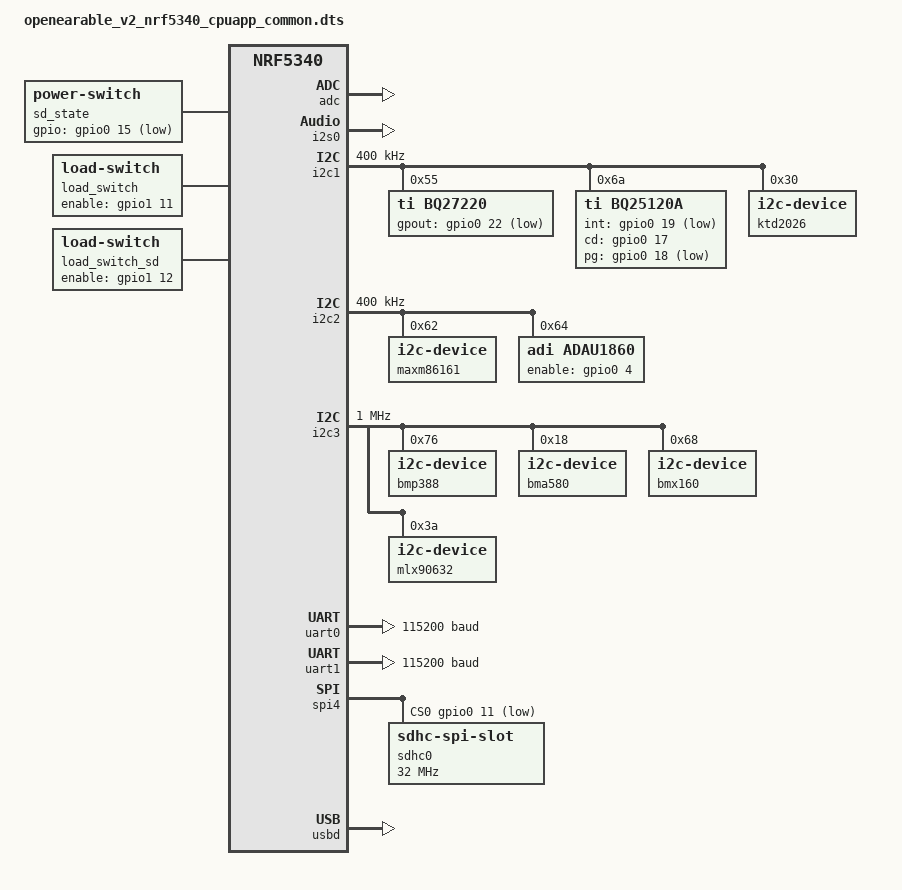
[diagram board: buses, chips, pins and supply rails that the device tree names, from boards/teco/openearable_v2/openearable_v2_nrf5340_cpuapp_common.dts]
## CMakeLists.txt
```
cmake_minimum_required(VERSION 3.20.0)

# Flag which defines whether application is compiled as gateway/dongle or headset
add_compile_definitions(HEADSET=1)
add_compile_definitions(GATEWAY=2)

find_package(Zephyr REQUIRED HINTS $ENV{ZEPHYR_BASE})

project(openearable_v2_1)

string(TIMESTAMP NRF5340_AUDIO_CORE_APP_COMP_DATE "%a %b %d %H:%M:%S %Y")

# Generate fw_info_app.c
configure_file("${CMAKE_CURRENT_SOURCE_DIR}/src/utils/fw_info_app.c.in"
               "${CMAKE_BINARY_DIR}/fw_info_app.c"
               @ONLY)

# Target sources below are specific to the nRF5340 Audio DK HW
target_sources(app PRIVATE
    src/main.cpp
    ${CMAKE_BINARY_DIR}/fw_info_app.c
    )


# Include application events and configuration headers
zephyr_library_include_directories(
    include
    src/audio
    src/Battery
    src/buttons
    src/Wire
    src/bluetooth
    src/drivers
    src/modules
    src/utils
    src/utils/macros
    src/ParseInfo
    src/SD_Card/SDLogger
    src/SD_Card/Benchmark
    src/SD_Card/SD_Card_Manager
    src/time_sync
)

zephyr_library_include_directories(app PRIVATE
    ${ZEPHYR_NRF_MODULE_DIR}/boards/teco/openearable_v2_nrf5340)

# Application sources
add_subdirectory(src/audio)
add_subdirectory(src/Wire)
add_subdirectory(src/Battery)
add_subdirectory(src/bluetooth)
add_subdirectory(src/buttons)
add_subdirectory(src/drivers)
add_subdirectory(src/modules)
add_subdirectory(src/utils)
add_subdirectory(src/ParseInfo)
add_subdirectory(src/SensorManager)
add_subdirectory(src/SD_Card/SDLogger)
add_subdirectory(src/SD_Card/Benchmark)
add_subdirectory(src/SD_Card/SD_Card_Manager)
add_subdirectory(src/time_sync)

## Cirrus Logic
if (CONFIG_HW_CODEC_CIRRUS_LOGIC)
    if (ZEPHYR_CIRRUS_LOGIC_MODULE_DIR)
        add_subdirectory(${ZEPHYR_CIRRUS_LOGIC_MODULE_DIR} cirrus_logic_bin_dir)
    else()
        message(FATAL_ERROR "Cirrus Logic/sdk-mcu-drivers repository not found\n")
    endif()
endif()

include(version.cmake)
include_directories(${CMAKE_CURRENT_BINARY_DIR}/include)

# New USB device stack sample init (provides sample_usbd_init_device)
if(CONFIG_USB_DEVICE_STACK_NEXT)
    include(${ZEPHYR_BASE}/samples/subsys/usb/common/common.cmake)
endif()
```

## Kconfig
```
menuconfig NRF5340_AUDIO
	 bool "nRF5340 Audio [EXPERIMENTAL]"
	 select EXPERIMENTAL
	
if NRF5340_AUDIO

config CUSTOM_BROADCASTER
	bool "Allow custom broadcasters"
	default n
	help
	  Incomplete feature for now, but will introduce support for multiple BIGs and subgroups.

config AUDIO_DEV
	int "Select which device type to compile for. 1=HEADSET or 2=GATEWAY"
	range 1 2
	default 1
	help
	  Setting this variable to 1 selects that the project is compiled
	  as a HEADSET device.
	  Setting to 2 will compile as a GATEWAY.

choice NRF5340_AUDIO_TRANSPORT_MODE
	prompt "Choose BIS or CIS for ISO transport"
	default TRANSPORT_CIS if WALKIE_TALKIE_DEMO
	default TRANSPORT_CIS

config TRANSPORT_BIS
	bool "Use BIS (Broadcast Isochronous Stream)"

config TRANSPORT_CIS
	bool "Use CIS (Connected Isochronous Stream)"

endchoice

#----------------------------------------------------------------------------#
# if (TRANSPORT_BIS && AUDIO_DEV = 1)
# rsource "broadcast_sink/Kconfig.defaults"
# endif # TRANSPORT_BIS && AUDIO_DEV = 1

# if (TRANSPORT_BIS && AUDIO_DEV = 2)
# rsource "broadcast_source/Kconfig.defaults"
# endif # TRANSPORT_BIS && AUDIO_DEV = 2

# if (TRANSPORT_CIS && AUDIO_DEV = 1)
rsource "unicast_server/Kconfig.defaults"
# endif # TRANSPORT_CIS && AUDIO_DEV = 1

# if (TRANSPORT_CIS && AUDIO_DEV = 2)
# rsource "unicast_client/Kconfig.defaults"
# endif # TRANSPORT_CIS && AUDIO_DEV = 2

rsource "Kconfig.defaults"
rsource "src/audio/Kconfig"
rsource "src/bluetooth/Kconfig"
rsource "src/drivers/Kconfig"
rsource "src/modules/Kconfig"
rsource "src/utils/Kconfig"
rsource "src/SensorManager/Kconfig"
rsource "src/Battery/Kconfig"

#----------------------------------------------------------------------------#
menu "Logging"

module = MAIN
module-str = main
source "subsys/logging/Kconfig.template.log_config"

config PRINT_STACK_USAGE_MS
	depends on THREAD_ANALYZER && INIT_STACKS
	int "Print stack usage every x milliseconds"
	default 5000

endmenu # Log levels

#----------------------------------------------------------------------------#
endif # NRF5340_AUDIO

rsource "$(ZEPHYR_BASE)/samples/subsys/usb/common/Kconfig.sample_usbd"

source "Kconfig.zephyr"
```

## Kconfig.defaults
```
config REBOOT
	default y

config MAIN_THREAD_PRIORITY
	default 10

config MAIN_STACK_SIZE
	default 1800 if SD_CARD_PLAYBACK
	default 1600

config SYSTEM_WORKQUEUE_STACK_SIZE
	default 1200

# As long as thread names are used, config must be set to "y"
config THREAD_NAME
	default y

# Workaround to not use fatal_error.c in NCS. Note that the system may still
# reset on error depending on the build configuraion
config RESET_ON_FATAL_ERROR
	default n

# Default Config for Debug and Release build
config BT
	default y

config ZBUS
	default y

config ZBUS_RUNTIME_OBSERVERS
	default y

config ZBUS_MSG_SUBSCRIBER
	default y

config SENSOR
	default y

config REGULATOR
	default y

config CONTIN_ARRAY
	default y

config NRFX_I2S0
	default y

config PCM_MIX
	default y

config PSCM
	default y

config DATA_FIFO
	default y

# Enable NRFX_CLOCK for ACLK control
config NRFX_CLOCK
	default y

config I2C
	default y

choice LIBC_IMPLEMENTATION
	# NOTE: Since we are not using minimal libc, error codes from
	#       minimal libc are not used
	default NEWLIB_LIBC
endchoice

# Audio codec LC3 related defines
# FPU_SHARING enables preservation of the hardware floating point registers
# across context switches to allow multiple threads to perform concurrent
# floating point operations.
config FPU
	default y

config FPU_SHARING
	default y

# Enable SDHC interface
config DISK_DRIVERS
	default y

config DISK_DRIVER_SDMMC
	default y

# Enable SPI interface
config SPI
	default y

# Enable ADC for board version readback
config ADC
	default y

# Allocate buffer on RAM for transferring chunck of data
# from Flash to SPI
config SPI_NRFX_RAM_BUFFER_SIZE
	default 8

# Config the file system
config FILE_SYSTEM
	default y

config FAT_FILESYSTEM_ELM
	default y

config FS_FATFS_LFN
	default y
choice FS_FATFS_LFN_MODE
	# Using stack for LFN work queue
	default FS_FATFS_LFN_MODE_STACK
endchoice

# exFAT enabled to support longer file names and higher transfer speed
config FS_FATFS_EXFAT
	default y

config WATCHDOG
	default y

config TASK_WDT
	default y
```

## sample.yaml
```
sample:
  name: nRF5340 Audio application
  description: LE Audio and Auracast implementation example
common:
  integration_platforms:
    - openearable_v2/nrf5340/cpuapp
  platform_allow: openearable_v2/nrf5340/cpuapp
  sysbuild: true
  build_only: true
  tags: ci_build sysbuild
tests:
  applications.nrf5340_audio.default:
    extra_args: []
  applications.nrf5340_audio.headset_unicast:
    extra_args: FILE_SUFFIX=release CONFIG_AUDIO_DEV=1
  applications.nrf5340_audio.gateway_unicast:
    extra_args: FILE_SUFFIX=release CONFIG_AUDIO_DEV=2
  applications.nrf5340_audio.headset_broadcast:
    extra_args: FILE_SUFFIX=release CONFIG_AUDIO_DEV=1 CONFIG_TRANSPORT_BIS=y
  applications.nrf5340_audio.gateway_broadcast:
    extra_args: FILE_SUFFIX=release CONFIG_AUDIO_DEV=2 CONFIG_TRANSPORT_BIS=y
  applications.nrf5340_audio.headset_unicast_sd_card:
    extra_args: FILE_SUFFIX=release CONFIG_AUDIO_DEV=1 CONFIG_SD_CARD_PLAYBACK=y
  applications.nrf5340_audio.headset_dfu:
    extra_args: FILE_SUFFIX=release CONFIG_AUDIO_DEV=1
```

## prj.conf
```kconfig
# Audio
CONFIG_AUDIO_BT_MGMT_DFU=y
CONFIG_AUDIO_MIC_I2S=y
CONFIG_BLE_ACL_CONN_INTERVAL=8
CONFIG_BT_AUDIO_RETRANSMITS=2
#CONFIG_BT_AUDIO_MAX_TRANSPORT_LATENCY_MS=20
#CONFIG_BT_AUDIO_PRESENTATION_DELAY_US=40000
CONFIG_FDSP=y
CONFIG_NRF5340_AUDIO=y
CONFIG_NRF5340_AUDIO_CS47L63_DRIVER=y
CONFIG_NRF5340_AUDIO_POWER_MEASUREMENT=n
CONFIG_NRF5340_AUDIO_SD_CARD_MODULE=y
CONFIG_SAMPLE_RATE_CONVERTER=y
CONFIG_SAMPLE_RATE_CONVERTER_FILTER_SIMPLE=y
CONFIG_STREAM_BIDIRECTIONAL=y
# CONFIG_NRFX_PDM=y

# Bluetooth
CONFIG_BT_ATT_PREPARE_COUNT=8
CONFIG_BT_BUF_ACL_RX_SIZE=502
CONFIG_BT_BUF_ACL_TX_SIZE=502
CONFIG_BT_CTLR_DATA_LENGTH_MAX=251
CONFIG_BT_CTLR_ISO_RX_BUFFERS=16
CONFIG_BT_CTLR_ISO_TX_BUFFERS=16
CONFIG_BT_CTLR_PHY_2M=y
CONFIG_BT_CTLR_PHY_CODED=n
CONFIG_BT_CTLR_RX_BUFFERS=8
#CONFIG_BT_CTLR_TX_BUFFERS=8
CONFIG_BT_DEVICE_NAME="OpenEarable"
CONFIG_BT_HCI_CORE_LOG_LEVEL_WRN=y
CONFIG_BT_ISO_RX_BUF_COUNT=8
CONFIG_BT_ISO_TX_BUF_COUNT=4
#CONFIG_BT_ISO_RX_MTU=498
#CONFIG_BT_ISO_TX_MTU=498
CONFIG_BT_L2CAP_DYNAMIC_CHANNEL=y
CONFIG_BT_L2CAP_TX_MTU=498
CONFIG_BT_OBSERVER=y
CONFIG_BT_PERIPHERAL=y
CONFIG_BT_USER_DATA_LEN_UPDATE=y
CONFIG_BT_USER_PHY_UPDATE=y

# C/C++ runtime
CONFIG_CPP=y
CONFIG_FPU=y
CONFIG_GLIBCXX_LIBCPP=y
CONFIG_NEWLIB_LIBC=y
CONFIG_NEWLIB_LIBC_FLOAT_PRINTF=y
CONFIG_NEWLIB_LIBC_FLOAT_SCANF=y
CONFIG_SFLOAT=y
CONFIG_STD_CPP17=y

# Console
CONFIG_CONSOLE=y
CONFIG_RTT_CONSOLE=y
CONFIG_STDOUT_CONSOLE=y
CONFIG_UART_CONSOLE=y

# Debug
CONFIG_ASSERT=y
CONFIG_DEBUG=y
CONFIG_DEBUG_INFO=y
CONFIG_INIT_STACKS=y
#CONFIG_RESET_ON_FATAL_ERROR=y
CONFIG_STACK_SENTINEL=y
CONFIG_STACK_USAGE=y
CONFIG_THREAD_RUNTIME_STATS=y

# Filesystem / SD card
CONFIG_DISK_ACCESS=y
CONFIG_DISK_DRIVER_SDMMC=y
CONFIG_DISK_DRIVERS=y
CONFIG_FAT_FILESYSTEM_ELM=y
CONFIG_FILE_SYSTEM=y
CONFIG_FS_FATFS_EXFAT=y
CONFIG_FS_FATFS_HAS_RTC=y
CONFIG_FS_FATFS_MOUNT_MKFS=n
CONFIG_SDHC=y
# Suppress LOG_ERR from sd_check_card_type (SPI_SDHC has no card presence method)
CONFIG_SD_LOG_LEVEL_OFF=y

# Flash (external)
CONFIG_FLASH=y
CONFIG_FLASH_MAP=y
CONFIG_NORDIC_QSPI_NOR=n
CONFIG_SPI_NOR=y
CONFIG_SPI_NOR_FLASH_LAYOUT_PAGE_SIZE=4096
CONFIG_SPI_NOR_SFDP_DEVICETREE=y

# I2C
CONFIG_I2C=y
CONFIG_I2C_NRFX=y
CONFIG_I2C_SHELL=y

# Logging
CONFIG_LOG=y
CONFIG_LOG_BACKEND_RTT=n
CONFIG_LOG_BACKEND_UART=n
CONFIG_LOG_BUFFER_SIZE=8192
CONFIG_LOG_PROCESS_THREAD_SLEEP_MS=100
# CONFIG_LOG_DEFAULT_LEVEL=4
CONFIG_LOG_TAG_DEFAULT="--"
CONFIG_LOG_TAG_MAX_LEN=2
#CONFIG_LOG_THREAD_ID_PREFIX=y
CONFIG_SEGGER_RTT_BUFFER_SIZE_UP=4096
CONFIG_USBD_LOG_LEVEL_WRN=y

# MCUmgr / DFU
CONFIG_BASE64=y
CONFIG_CRC=y
CONFIG_IMG_MANAGER=y
CONFIG_MCUMGR=y
CONFIG_MCUMGR_GRP_IMG=y
CONFIG_MCUMGR_GRP_IMG_STATUS_HOOKS=y
CONFIG_MCUMGR_GRP_IMG_UPLOAD_CHECK_HOOK=y
CONFIG_MCUMGR_GRP_OS=y
CONFIG_MCUMGR_GRP_OS_RESET_HOOK=y
CONFIG_MCUMGR_MGMT_NOTIFICATION_HOOKS=y
CONFIG_MCUMGR_SMP_COMMAND_STATUS_HOOKS=y
CONFIG_MCUMGR_TRANSPORT_BT_PERM_RW=y
CONFIG_MCUMGR_TRANSPORT_UART=n
CONFIG_NET_BUF=y
CONFIG_STREAM_FLASH=y
CONFIG_ZCBOR=y

# Power management
CONFIG_PM=n  # Seems like a good idea, but not currently used in any way.
CONFIG_PM_DEVICE=y
CONFIG_PM_DEVICE_RUNTIME=y
CONFIG_POWEROFF=y

# PWM
CONFIG_NRFX_PWM1=y

# Serial / UART
CONFIG_SERIAL=y
CONFIG_UART_LINE_CTRL=y

# Shell
CONFIG_SHELL=y
CONFIG_SHELL_BACKEND_RTT=y
CONFIG_SHELL_BACKEND_SERIAL=n
CONFIG_SHELL_CMD_BUFF_SIZE=128
CONFIG_SHELL_CMDS=n
CONFIG_SHELL_HELP_ON_WRONG_ARGUMENT_COUNT=n
CONFIG_SHELL_HISTORY=y
CONFIG_SHELL_RTT_INIT_LOG_LEVEL_DEFAULT=y
CONFIG_SHELL_STACK_SIZE=4096
CONFIG_SHELL_STATS=n
CONFIG_SHELL_VT100_COLORS=y
CONFIG_SHELL_VT100_COMMANDS=y
CONFIG_SHELL_WILDCARD=n
# Disable default shell commands
CONFIG_CLOCK_CONTROL_NRF_SHELL=n
CONFIG_DEVICE_SHELL=n
CONFIG_FLASH_SHELL=n
CONFIG_HWINFO_SHELL=n
CONFIG_I2C_SHELL=y
CONFIG_KERNEL_SHELL=y
CONFIG_USE_SEGGER_RTT=y

# SPI
CONFIG_SPI=y
CONFIG_SPI_NRFX=y
CONFIG_SPI_NRFX_RAM_BUFFER_SIZE=4096

# Misc
CONFIG_SETUP_FUEL_GAUGE=y
CONFIG_SYSTEM_WORKQUEUE_STACK_SIZE=4096

# USB
#CONFIG_USB_CDC_ACM_LOG_LEVEL_DBG=y
CONFIG_USB_DEVICE_STACK_NEXT=y
CONFIG_USBD_CDC_ACM_CLASS=n
# USB Mass Storage
CONFIG_USBD_MSC_CLASS=y
CONFIG_USBD_MSC_LUNS_PER_INSTANCE=1
CONFIG_USBD_MSC_SCSI_BUFFER_SIZE=16384
CONFIG_SAMPLE_USBD_MANUFACTURER="OpenEarable"
CONFIG_SAMPLE_USBD_PID=0x0004
CONFIG_SAMPLE_USBD_PRODUCT="OpenEarable v2"
CONFIG_SAMPLE_USBD_SELF_POWERED=y

CONFIG_NCS_BOOT_BANNER=y
CONFIG_NCS_APPLICATION_BOOT_BANNER_STRING="OpenEarable v2"
```

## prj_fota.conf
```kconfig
#
# Copyright (c) 2022 Nordic Semiconductor ASA
#
# SPDX-License-Identifier: LicenseRef-Nordic-5-Clause
#

# CONFIG_STATIC_INIT_GNU=y

# nRF5340 Audio
CONFIG_NRF5340_AUDIO=y
CONFIG_SAMPLE_RATE_CONVERTER=y
CONFIG_SAMPLE_RATE_CONVERTER_FILTER_SIMPLE=y

# General
CONFIG_DEBUG=y
CONFIG_DEBUG_INFO=y
CONFIG_ASSERT=y
CONFIG_STACK_USAGE=y
CONFIG_THREAD_RUNTIME_STATS=y
CONFIG_STACK_SENTINEL=y
CONFIG_INIT_STACKS=y

# Uart driver
CONFIG_SERIAL=y

# Logging
CONFIG_LOG=y
CONFIG_NEWLIB_LIBC_FLOAT_PRINTF=y
CONFIG_LOG_TAG_MAX_LEN=2
CONFIG_LOG_TAG_DEFAULT="--"
CONFIG_LOG_BACKEND_UART=y
CONFIG_LOG_BUFFER_SIZE=4096

# Use this for debugging thread usage
#CONFIG_LOG_THREAD_ID_PREFIX=y

# Console related defines
CONFIG_CONSOLE=y
CONFIG_RTT_CONSOLE=y
CONFIG_UART_CONSOLE=y
CONFIG_STDOUT_CONSOLE=y

# Shell related defines
CONFIG_SHELL=y
CONFIG_KERNEL_SHELL=y
CONFIG_USE_SEGGER_RTT=y
## Disable logs on RTT
CONFIG_SHELL_RTT_INIT_LOG_LEVEL_NONE=y
CONFIG_SHELL_BACKEND_RTT=y
CONFIG_SHELL_BACKEND_SERIAL=n
CONFIG_SHELL_VT100_COMMANDS=y
CONFIG_SHELL_VT100_COLORS=y
CONFIG_SHELL_STACK_SIZE=4096
CONFIG_SHELL_CMD_BUFF_SIZE=128
## Reduce shell memory usage
CONFIG_SHELL_WILDCARD=n
CONFIG_SHELL_HELP_ON_WRONG_ARGUMENT_COUNT=n
CONFIG_SHELL_STATS=n
CONFIG_SHELL_CMDS=n
CONFIG_SHELL_HISTORY=y

# Turn off default shell commands
CONFIG_I2C_SHELL=n
CONFIG_HWINFO_SHELL=n
CONFIG_CLOCK_CONTROL_NRF_SHELL=n
CONFIG_FLASH_SHELL=n
CONFIG_DEVICE_SHELL=n

# Suppress LOG_ERR messages from sd_check_card_type. Because SPI_SDHC has no card presence method,
# assume card is in slot. Thus error message is always shown if card is not inserted
CONFIG_SD_LOG_LEVEL_OFF=y

# Suppress LOG_INF messages from hci_core
CONFIG_BT_HCI_CORE_LOG_LEVEL_WRN=y

# DFU
CONFIG_AUDIO_BT_MGMT_DFU=y
CONFIG_MCUMGR_TRANSPORT_BT_PERM_RW=y
CONFIG_BT_L2CAP_TX_MTU=498
CONFIG_BT_BUF_ACL_TX_SIZE=251

# External Flash
CONFIG_FLASH=y
CONFIG_FLASH_MAP=y
CONFIG_SPI_NOR=y
CONFIG_SPI_NOR_SFDP_DEVICETREE=y

# Michael: missing somehow
CONFIG_NRF5340_AUDIO_CS47L63_DRIVER=y
CONFIG_NRF5340_AUDIO_POWER_MEASUREMENT=n
CONFIG_NRF5340_AUDIO_SD_CARD_MODULE=y

#Custom
CONFIG_NRFX_PWM1=y

CONFIG_I2C=y
CONFIG_I2C_NRFX=y

CONFIG_POWEROFF=y

#CONFIG_PM=y
CONFIG_PM_DEVICE=y
CONFIG_PM_DEVICE_RUNTIME=y

CONFIG_BT_DEVICE_NAME="OpenEarable"

#CONFIG_USB_CDC_ACM_LOG_LEVEL_DBG=y

CONFIG_BT_PERIPHERAL=y
CONFIG_BT_OBSERVER=y

CONFIG_SFLOAT=y

CONFIG_FPU=y

CONFIG_NEWLIB_LIBC=y
CONFIG_NEWLIB_LIBC_FLOAT_PRINTF=y
CONFIG_NEWLIB_LIBC_FLOAT_SCANF=y

CONFIG_CPP=y
CONFIG_GLIBCXX_LIBCPP=y
CONFIG_STD_CPP17=y

# USB: new device stack with Mass Storage Class
CONFIG_USB_DEVICE_STACK_NEXT=y
CONFIG_USBD_CDC_ACM_CLASS=y
CONFIG_USBD_MSC_CLASS=y
CONFIG_USBD_MSC_LUNS_PER_INSTANCE=1
CONFIG_USBD_MSC_SCSI_BUFFER_SIZE=16384

CONFIG_SAMPLE_USBD_PID=0x0004
CONFIG_SAMPLE_USBD_PRODUCT="OpenEarable v2"
CONFIG_SAMPLE_USBD_MANUFACTURER="OpenEarable"
CONFIG_SAMPLE_USBD_SELF_POWERED=y

CONFIG_UART_LINE_CTRL=y

CONFIG_BT_USER_DATA_LEN_UPDATE=y
CONFIG_BT_USER_PHY_UPDATE=y

CONFIG_BT_CTLR_DATA_LENGTH_MAX=251
CONFIG_BT_BUF_ACL_RX_SIZE=502
CONFIG_BT_BUF_ACL_TX_SIZE=502
CONFIG_BT_L2CAP_TX_MTU=498
CONFIG_BT_CTLR_PHY_2M=y
CONFIG_BT_CTLR_PHY_CODED=n

CONFIG_BT_ISO_TX_BUF_COUNT=4
CONFIG_BT_ISO_RX_BUF_COUNT=8

CONFIG_BT_CTLR_RX_BUFFERS=8
#CONFIG_BT_CTLR_TX_BUFFERS=8

CONFIG_BT_CTLR_ISO_TX_BUFFERS=16
CONFIG_BT_CTLR_ISO_RX_BUFFERS=16

#CONFIG_BT_ISO_RX_MTU=498
#CONFIG_BT_ISO_TX_MTU=498

CONFIG_BT_ATT_PREPARE_COUNT=8
CONFIG_BT_L2CAP_DYNAMIC_CHANNEL=y

#CONFIG_BT_AUDIO_PRESENTATION_DELAY_US=40000
#CONFIG_BT_AUDIO_MAX_TRANSPORT_LATENCY_MS=20

CONFIG_BT_AUDIO_RETRANSMITS=2

CONFIG_BLE_ACL_CONN_INTERVAL=8

CONFIG_BT_PERIPHERAL=y
CONFIG_BT_OBSERVER=y

CONFIG_SFLOAT=y

#CONFIG_RESET_ON_FATAL_ERROR=y

CONFIG_STREAM_BIDIRECTIONAL=y

# CONFIG_NRFX_PDM=y

CONFIG_AUDIO_MIC_I2S=y

# CONFIG_LOG_DEFAULT_LEVEL=4

CONFIG_SPI_NRFX_RAM_BUFFER_SIZE=4096

CONFIG_SPI=y
CONFIG_SPI_NRFX=y
CONFIG_DISK_ACCESS=y
CONFIG_SDHC=y

CONFIG_LOG=y
CONFIG_FILE_SYSTEM=y
CONFIG_FAT_FILESYSTEM_ELM=y

# Enable SDHC interface
CONFIG_DISK_DRIVERS=y
CONFIG_DISK_DRIVER_SDMMC=y

CONFIG_FS_FATFS_MOUNT_MKFS=n # Disable automatic formatting
CONFIG_FS_FATFS_EXFAT=y      # Enable exFAT support
CONFIG_FS_FATFS_HAS_RTC=y    # Enable FAT timestamps from synced time

CONFIG_FDSP=y

CONFIG_SYSTEM_WORKQUEUE_STACK_SIZE=4096


# External flash layout
CONFIG_SPI_NOR_FLASH_LAYOUT_PAGE_SIZE=4096
CONFIG_NORDIC_QSPI_NOR=n

# MCUmgr Device Firmware Upgrade (DFU)
CONFIG_MCUMGR=y
CONFIG_MCUMGR_GRP_OS=y
CONFIG_MCUMGR_GRP_IMG=y
CONFIG_MCUMGR_TRANSPORT_UART=y

# MCUmgr dependencies
CONFIG_NET_BUF=y
CONFIG_ZCBOR=y
CONFIG_CRC=y
CONFIG_IMG_MANAGER=y
CONFIG_STREAM_FLASH=y
CONFIG_BASE64=y

# MCUboot hooks
CONFIG_MCUMGR_MGMT_NOTIFICATION_HOOKS=y
CONFIG_MCUMGR_SMP_COMMAND_STATUS_HOOKS=y
CONFIG_MCUMGR_GRP_IMG_UPLOAD_CHECK_HOOK=y
CONFIG_MCUMGR_GRP_IMG_STATUS_HOOKS=y
CONFIG_MCUMGR_GRP_OS_RESET_HOOK=y

CONFIG_SETUP_FUEL_GAUGE=y
```

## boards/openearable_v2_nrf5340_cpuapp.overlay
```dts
/ {
	chosen {
		nordic,pm-ext-flash = &mx25r64;
	};
};

&qspi {
	status = "disabled";
};

&spi4 {
	cs-gpios = <&gpio0 11 GPIO_ACTIVE_LOW>,<&gpio1 1 GPIO_ACTIVE_LOW>;
	status = "okay";
	mx25r64: mx25r6435f@1 {
		compatible = "jedec,spi-nor";
		reg = <1>;
		spi-max-frequency = <32000000>;

		jedec-id = [c2 28 17];
		sfdp-bfp = [
			e5 20 f1 ff  ff ff ff 03  44 eb 08 6b  08 3b 04 bb
			ee ff ff ff  ff ff 00 ff  ff ff 00 ff  0c 20 0f 52
			10 d8 00 ff  23 72 f5 00  82 ed 04 cc  44 83 68 44
			30 b0 30 b0  f7 c4 d5 5c  00 be 29 ff  f0 d0 ff ff
		];
		size = <67108864>;
		has-dpd;
		t-enter-dpd = <10000>;
		t-exit-dpd = <5000>;
		dpd-wakeup-sequence = <30000 20 45000>;
		mxicy,mx25r-power-mode = "high-performance";

		power-domains = <&load_switch>;
		zephyr,pm-device-runtime-auto;
	};
};
```

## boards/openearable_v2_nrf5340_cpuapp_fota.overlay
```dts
/ {
	chosen {
		nordic,pm-ext-flash = &mx25r64;
	};
};

&qspi {
	status = "disabled";
};

&spi4 {
	cs-gpios = <&gpio0 11 GPIO_ACTIVE_LOW>,<&gpio1 1 GPIO_ACTIVE_LOW>;
	status = "okay";
	mx25r64: mx25r6435f@1 {
		compatible = "jedec,spi-nor";
		reg = <1>;
		spi-max-frequency = <32000000>;

		jedec-id = [c2 28 17];
		sfdp-bfp = [
			e5 20 f1 ff  ff ff ff 03  44 eb 08 6b  08 3b 04 bb
			ee ff ff ff  ff ff 00 ff  ff ff 00 ff  0c 20 0f 52
			10 d8 00 ff  23 72 f5 00  82 ed 04 cc  44 83 68 44
			30 b0 30 b0  f7 c4 d5 5c  00 be 29 ff  f0 d0 ff ff
		];
		size = <67108864>;
		has-dpd;
		t-enter-dpd = <10000>;
		t-exit-dpd = <5000>;
		dpd-wakeup-sequence = <30000 20 45000>;
		mxicy,mx25r-power-mode = "high-performance";
	};
};
```

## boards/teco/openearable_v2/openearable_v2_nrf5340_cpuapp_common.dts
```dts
/*
 * Copyright (c) 2023 Raytac Corporation
 *
 * SPDX-License-Identifier: Apache-2.0
 */
 #include "openearable_v2_nrf5340_cpuapp_common-pinctrl.dtsi"
 #include <zephyr/dt-bindings/input/input-event-codes.h>
 
 / {
	 chosen {
		 zephyr,console = &uart0;
		 zephyr,shell-uart = &uart0;
		 zephyr,uart-mcumgr = &cdc_acm_uart0;
		 zephyr,bt-mon-uart = &uart0;
		 zephyr,bt-c2h-uart = &uart0;
		 zephyr,bt-hci = &bt_hci_ipc0;
		 watchdog0 = &wdt0;
	 };
 
 
	 sd_state: sd_state {
		 compatible = "power-switch";
		 gpios = <&gpio0 15 (GPIO_PULL_UP | GPIO_ACTIVE_LOW)>;
	 };
 
	 load_switch: load_switch {
		 compatible = "load-switch";
		 enable-gpios = <&gpio1 11 GPIO_ACTIVE_HIGH>;
		 power-delay-us = <300>; // 250us per datasheet
		 status = "okay";
		 default-on;
		 zephyr,pm-device-runtime-auto;
		 #power-domain-cells = <0>;
	 };

	 load_switch_sd: load_switch_sd {
		 compatible = "load-switch";
		 enable-gpios = <&gpio1 12 GPIO_ACTIVE_HIGH>;
		 power-delay-us = <300>; // 250us per datasheet
		 status = "okay";
		 default-on;
		 zephyr,pm-device-runtime-auto;
	 };
 
	 gpio_fwd: nrf-gpio-forwarder {
		 compatible = "nordic,nrf-gpio-forwarder";
		 status = "okay";
		 uart {
			 gpios = <&gpio1 6 0>, <&gpio0 7 0>, <&gpio0 2 0>, <&gpio0 3 0>;
		 };
	 };
 };
 
 &clock {
	 hfclkaudio-frequency = <12288000>;
 };

 // Oscillator Parameters 32mHz / 8pF / 20ppm
 &hfxo {
	load-capacitors = "internal";
	load-capacitance-femtofarad = <8000>;
 };

 &lfxo {
	load-capacitors = "external";
  };
 
 &adc {
	 status = "okay";
 };
 
 &gpiote {
	 status = "okay";
 };
 
 &gpio0 {
	 status = "okay";
 };
 
 &gpio1 {
	 status = "okay";
 };
 
 &i2s0 {
	 compatible = "nordic,nrf-i2s";
	 status = "okay";
	 pinctrl-0 = <&i2s0_default>;
	 pinctrl-1 = <&i2s0_sleep>;
	 pinctrl-names = "default", "sleep";
 };
 
 dmic_dev: &pdm0 {
	 compatible = "nordic,nrf-pdm";
	 status = "disabled";
	 pinctrl-0 = <&pdm0_default_alt>;
	 pinctrl-names = "default";
	 clock-source = "ACLK";
 };
 
 &i2c1 {
	 compatible = "nordic,nrf-twim";
	 status = "okay";
	 pinctrl-0 = <&i2c1_default>;
	 pinctrl-1 = <&i2c1_sleep>;
	 pinctrl-names = "default", "sleep";
	 clock-frequency = <I2C_BITRATE_FAST>;  // 400 kHz
	 zephyr,concat-buf-size = <512>;
     zephyr,flash-buf-max-size = <512>;
 
	 bq27220: bq27220@55 {
		 compatible = "ti,bq27220";
		 reg = <0x55>;
		 gpout-gpios = <&gpio0 22 (GPIO_PULL_UP | GPIO_ACTIVE_LOW)>;
	 };
 
	 bq25120a: bq25120a@6a {
		 compatible = "ti,bq25120a";
		 reg = <0x6a>;
		 int-gpios = <&gpio0 19 (GPIO_ACTIVE_LOW | GPIO_PULL_UP)>;
		 cd-gpios = <&gpio0 17 GPIO_ACTIVE_HIGH>;
		 pg-gpios = <&gpio0 18 (GPIO_ACTIVE_LOW | GPIO_PULL_UP)>;

		load-switch {
			compatible = "load-switch";
			enable-gpios = <&gpio0 14 GPIO_ACTIVE_HIGH>;
			power-delay-us = <600>;
			status = "okay";
			zephyr,pm-device-runtime-auto;
        };
	 };

	 ktd2026: ktd2026@30 {
		 compatible = "i2c-device";
		 reg = <0x30>;
	 };
 };
 
 &i2c2 {
	 compatible = "nordic,nrf-twim";
	 status = "okay";
	 pinctrl-0 = <&i2c2_default>;
	 pinctrl-1 = <&i2c2_sleep>;
	 pinctrl-names = "default", "sleep";
	 clock-frequency = <I2C_BITRATE_FAST>;  // 400 kHz
	 zephyr,concat-buf-size = <512>;
     zephyr,flash-buf-max-size = <512>;

	maxm86161: maxm86161@62 {
        compatible = "i2c-device";
        reg = <0x62>;
    };

	 adau1860: adau1860@64 {
		 compatible = "adi,adau1860";
		 reg = <0x64>;
		 enable-gpios = <&gpio0 4 GPIO_ACTIVE_HIGH>;
	 };
 };

 &i2c3 {
	 compatible = "nordic,nrf-twim";
	 status = "okay";
	 pinctrl-0 = <&i2c3_default>;
	 pinctrl-1 = <&i2c3_sleep>;
	 pinctrl-names = "default", "sleep";
	 clock-frequency = <I2C_BITRATE_FAST_PLUS>;  // 1000 kHz
	 zephyr,concat-buf-size = <1088>;
     zephyr,flash-buf-max-size = <1088>;

	bmp388: bmp388@76 {
        compatible = "i2c-device";
        reg = <0x76>;
    };

	bma580: bma580@18 {
        compatible = "i2c-device";
        reg = <0x18>;
    };

	bmx160: bmx160@68 {
        compatible = "i2c-device";
        reg = <0x68>;
    };

	mlx90632: mlx90632@3a {
        compatible = "i2c-device";
        reg = <0x3a>;
    };
 };
 
 &uart0 {
	 status = "okay";
	 current-speed = <115200>;
	 pinctrl-0 = <&uart0_default>;
	 pinctrl-1 = <&uart0_sleep>;
	 pinctrl-names = "default", "sleep";
 };
 
 &uart1 {
	 compatible = "nordic,nrf-uarte";
	 current-speed = <115200>;
	 pinctrl-0 = <&uart1_default>;
	 pinctrl-1 = <&uart1_sleep>;
	 pinctrl-names = "default", "sleep";
 };
 
 &pwm0 {
	 status = "disabled"; // okay
	 pinctrl-0 = <&pwm0_default>;
	 pinctrl-1 = <&pwm0_sleep>;
	 pinctrl-names = "default", "sleep";
 };
 
 &qspi {
	 status = "disabled";
	 pinctrl-0 = <&qspi_default>;
	 pinctrl-1 = <&qspi_sleep>;
	 pinctrl-names = "default", "sleep";
 };
 
 &spi2 {
	 compatible = "nordic,nrf-spim";
	 status = "disabled";
	 cs-gpios = <&gpio0 25 GPIO_ACTIVE_LOW>;
 
	 pinctrl-0 = <&spi2_default>;
	 pinctrl-1 = <&spi2_sleep>;
	 pinctrl-names = "default", "sleep";
 };
 
 &spi3 {
	 compatible = "nordic,nrf-spim";
	 status = "disabled";
	 cs-gpios = <&gpio1 12 GPIO_ACTIVE_LOW>;
 
	 pinctrl-0 = <&spi3_default>;
	 pinctrl-1 = <&spi3_sleep>;
	 pinctrl-names = "default", "sleep";
 };
 
 &spi4 {
	 compatible = "nordic,nrf-spim";
	 status = "okay";
	 cs-gpios = <&gpio0 11 GPIO_ACTIVE_LOW>,<&gpio1 1 GPIO_ACTIVE_LOW>;
 
	 pinctrl-0 = <&spi4_default>;
	 pinctrl-1 = <&spi4_sleep>;
	 pinctrl-names = "default", "sleep";
	 sdhc0: sdhc@0 {
		 compatible = "zephyr,sdhc-spi-slot";
		 reg = <0>;
		 status = "okay";
		 sdmmc {
			 compatible = "zephyr,sdmmc-disk";
			 status = "okay";
			 disk-name = "SD";
		 };
 
		 spi-max-frequency = <32000000>;
	 };
 };
 
 zephyr_udc0: &usbd {
	 compatible = "nordic,nrf-usbd";
	 status = "okay";
	 cdc_acm_uart0: cdc_acm_uart0 {
		 compatible = "zephyr,cdc-acm-uart";
	 };
 };
 
 &uicr {
	 nfct-pins-as-gpios;
 };
 
 /* Include partition configuration file */
 //#include "openearable_v2_nrf5340_cpuapp_partition_conf.dts"
 #include <common/nordic/nrf5340_cpuapp_partition.dtsi>
 #include "openearable_v2_nrf5340_shared.dtsi"
 
```

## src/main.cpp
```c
#include <zephyr/kernel.h>
#include <zephyr/device.h>
#include <zephyr/devicetree.h>
#include <zephyr/shell/shell.h>
#include <zephyr/shell/shell_uart.h>
#include <zephyr/settings/settings.h>
#include <zephyr/storage/disk_access.h>
#include <zephyr/logging/log.h>

#if defined(CONFIG_USB_DEVICE_STACK_NEXT)
#include <zephyr/usb/usbd.h>
#include <zephyr/usb/class/usbd_msc.h>
extern "C" {
#include <sample_usbd.h>
}
#else
#include <zephyr/usb/usb_device.h>
#endif

#include "macros_common.h"
#include "openearable_common.h"
#include "streamctrl.h"
#include "uicr.h"
#include "bt_mgmt.h"
#include "bt_mgmt_conn_interval.h"
#include "conn_interval/conn_intvl_linear.h"
#include "time_sync.h"

#include "device_info.h"
#include "battery_service.h"
#include "button_service.h"
#include "sensor_service.h"
#include "led_service.h"

#include "SensorScheme.h"
#include "DefaultSensors.h"

#include "Battery/PowerManager.h"
#include "SensorManager/SensorManager.h"
#include "SD_Card/SD_Card_Manager/SD_Card_Manager.h"
#include "utils/StateIndicator.h"

LOG_MODULE_REGISTER(main, CONFIG_MAIN_LOG_LEVEL);

#if defined(CONFIG_USB_DEVICE_STACK_NEXT)
/* Register SD card as a USB Mass Storage LUN */
USBD_DEFINE_MSC_LUN(sd, "SD", "OpenEarable", "SD Card", "1.00");

/* Global USB device context, used by SDCardManager to disable/enable USB
 * when the firmware needs exclusive SD card access for logging. */
struct usbd_context *g_usbd;
#endif

int main(void) {
	int ret;

	LOG_DBG("nRF5340 APP core started");

	ret = power_manager.begin();
	ERR_CHK(ret);

	uint8_t standalone = uicr_standalone_get();
	LOG_INF("Standalone mode: %i", standalone);

#if defined(CONFIG_USB_DEVICE_STACK_NEXT)
	{
		/* Bring SD rails up (if a card is present) before disk probe and USB
		 * enable so MSC sees the card on first host poll. */
		sdcard_manager.init();
		disk_access_init("SD");

		g_usbd = sample_usbd_init_device(NULL);
		if (g_usbd == NULL) {
			LOG_ERR("Failed to initialize USB device");
		} else {
			ret = usbd_enable(g_usbd);
			if (ret) {
				LOG_ERR("Failed to enable USB: %d", ret);
			}
		}
	}
#elif defined(CONFIG_USB_DEVICE_STACK)
	ret = usb_enable(NULL);
	if (ret) {
		LOG_ERR("Failed to enable USB");
		return 0;
	}
#endif

	streamctrl_start();

	uint32_t sirk = uicr_sirk_get();

	if (sirk == 0xFFFFFFFFU) {
		state_indicator.set_pairing_state(SET_PAIRING);
	} else if (bonded_device_count > 0 && !oe_boot_state.timer_reset) {
		state_indicator.set_pairing_state(PAIRED);
	} else {
		state_indicator.set_pairing_state(BONDING);
	}

	init_sensor_manager();

	ret = init_led_service();
	ERR_CHK(ret);

	ret = init_battery_service();
	ERR_CHK(ret);

	ret = init_button_service();
	ERR_CHK(ret);

	ret = initParseInfoService(&defaultSensorIds, defaultSensors);
	ERR_CHK(ret);

	ret = init_sensor_service();
	ERR_CHK(ret);

	bt_mgmt_conn_interval_init(new ConnIntvlLinear(
	    4,                // linear increase step (8ms units)
	    CONFIG_BLE_ACL_CONN_INTERVAL,
	    CONFIG_BLE_ACL_CONN_INTERVAL_SLOW
	));

	ret = init_time_sync();
	ERR_CHK(ret);

	return 0;
}
```

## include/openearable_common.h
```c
#ifndef _OPEN_EARABLE_COMMON_H_
#define _OPEN_EARABLE_COMMON_H_

//#include <zephyr/bluetooth/audio/audio.h>
#include <zephyr/drivers/gpio.h>

#include <zephyr/pm/device.h>
#include <zephyr/pm/device_runtime.h>

#define ZBUS_READ_TIMEOUT_MS	K_MSEC(100)
#define ZBUS_ADD_OBS_TIMEOUT_MS K_MSEC(200)

#define SENSOR_DATA_FIXED_LENGTH 64


#define millis() k_cyc_to_ms_floor64(k_uptime_ticks())

#ifdef __cplusplus
extern "C" {
#endif
uint64_t oe_micros();
#ifdef __cplusplus
}
#endif
#ifndef micros
#define micros() oe_micros()
#endif

#define load_switch_sd_id DT_NODELABEL(load_switch_sd)
#define load_switch_1_8_id DT_NODELABEL(load_switch)
#define load_switch_3_3_id DT_CHILD(DT_NODELABEL(bq25120a), load_switch)

extern const struct device *const cons;
extern const struct device *const ls_1_8;
extern const struct device *const ls_3_3;
extern const struct device *const ls_sd;

typedef uint8_t RGBColor[3];

struct boot_state {
	bool timer_reset;
	uint64_t device_id;
};

enum pairing_state {
	SET_PAIRING,
	BONDING,
	PAIRED, //DISONNECTED
	CONNECTED,
};

enum charging_state {
	DISCHARGING,
	BATTERY_CRITICAL,
	BATTERY_LOW,
	POWER_CONNECTED,
	PRECHARGING,
	SLOW_CHARGING,
	CHARGING, // Constant current
	TRICKLE_CHARGING, //Constant voltage
	FULLY_CHARGED,
	FAULT,
};

enum led_mode {
	STATE_INDICATION,
	CUSTOM,
};

enum sd_state {
    SD_IDLE,
    SD_RECORDING,
	SD_FAULT,
};

struct earable_state {
	enum pairing_state pairing_state;
	enum charging_state charging_state;
	enum sd_state sd_state;
	enum led_mode led_mode;
};

enum sensor_id {
	ID_IMU=0,
	ID_TEMP_BARO=1,
	ID_MICRO=2,
	ID_PPG=4,
	ID_OPTTEMP=6,
	ID_BONE_CONDUCTION=7,
};

struct battery_data {
    uint8_t battery_level;
	enum charging_state charging_state;
    //uint16_t charging_state;
};

struct sensor_data {
    uint8_t id;
    uint8_t size;
    uint64_t time;
    uint8_t data[SENSOR_DATA_FIXED_LENGTH];
} __attribute__((packed));

struct sensor_msg {
	bool sd;
	bool stream;
	struct sensor_data data;
};

struct sensor_config {
    uint8_t sensorId;
    uint8_t sampleRateIndex;
	uint8_t storageOptions;
} __attribute__((packed));


struct battery_settings {
    float u_nominal;
    float u_term;
    float u_vlo;
    float u_charge_prevent;

    float i_term;
    float i_charge;
    float i_max;

    float capacity;

    float temp_min;
    float temp_fast_min;
    float temp_fast_max;
    float temp_max;
};

struct sd_msg {
	bool removed;
};

#endif
```

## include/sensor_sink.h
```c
#ifndef SENSOR_SINK_H
#define SENSOR_SINK_H

#include "openearable_common.h"

#ifdef __cplusplus
extern "C" {
#endif

int sensor_sink_put(const struct sensor_msg *msg);

#ifdef __cplusplus
}
#endif

#endif
```

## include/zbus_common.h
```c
/*
 * Copyright (c) 2023 Nordic Semiconductor ASA
 *
 * SPDX-License-Identifier: LicenseRef-Nordic-5-Clause
 */

#ifndef _ZBUS_COMMON_H_
#define _ZBUS_COMMON_H_

#include <zephyr/bluetooth/audio/audio.h>

#include "le_audio.h"

#define ZBUS_READ_TIMEOUT_MS	K_MSEC(100)
#define ZBUS_ADD_OBS_TIMEOUT_MS K_MSEC(200)

/***** Messages for zbus ******/

enum button_action {
	BUTTON_RELEASED = 0,
	BUTTON_PRESS = 1,
};

struct button_msg {
	uint32_t button_pin;
	enum button_action button_action;
};

enum le_audio_evt_type {
	LE_AUDIO_EVT_CONFIG_RECEIVED = 1,
	LE_AUDIO_EVT_PRES_DELAY_SET,
	LE_AUDIO_EVT_STREAMING,
	LE_AUDIO_EVT_NOT_STREAMING,
	LE_AUDIO_EVT_STREAM_SENT,
	LE_AUDIO_EVT_SYNC_LOST,
	LE_AUDIO_EVT_NO_VALID_CFG,
	LE_AUDIO_EVT_COORD_SET_DISCOVERED,
};

struct le_audio_msg {
	enum le_audio_evt_type event;
	struct bt_conn *conn;
	struct bt_le_per_adv_sync *pa_sync;
	enum bt_audio_dir dir;
	uint8_t set_size;
	uint8_t const *sirk;
	struct stream_index idx;
};

/**
 * tx_sync_ts_us	The timestamp from get_tx_sync.
 * curr_ts_us		The current time. This must be in the controller frame of reference.
 */
struct sdu_ref_msg {
	uint32_t tx_sync_ts_us;
	uint32_t curr_ts_us;
	bool adjust;
};

enum bt_mgmt_evt_type {
	BT_MGMT_EXT_ADV_WITH_PA_READY = 1,
	BT_MGMT_CONNECTED,
	BT_MGMT_SECURITY_CHANGED,
	BT_MGMT_PA_SYNCED,
	BT_MGMT_PA_SYNC_LOST,
	BT_MGMT_DISCONNECTED,
	BT_MGMT_BROADCAST_SINK_DISABLE,
	BT_MGMT_BROADCAST_CODE_RECEIVED,
};

struct bt_mgmt_msg {
	enum bt_mgmt_evt_type event;
	struct bt_conn *conn;
	uint8_t index;
	struct bt_le_ext_adv *ext_adv;
	struct bt_le_per_adv_sync *pa_sync;
	uint32_t broadcast_id;
	uint8_t pa_sync_term_reason;
};

enum volume_evt_type {
	VOLUME_UP = 1,
	VOLUME_DOWN,
	VOLUME_SET,
	VOLUME_MUTE,
	VOLUME_UNMUTE,
};

struct volume_msg {
	enum volume_evt_type event;
	uint8_t volume;
};

enum content_control_evt_type {
	MEDIA_START = 1,
	MEDIA_STOP,
	MEDIA_NEXT,
	MEDIA_PREV,
};

struct content_control_msg {
	enum content_control_evt_type event;
};

#endif /* _ZBUS_COMMON_H_ */
```
